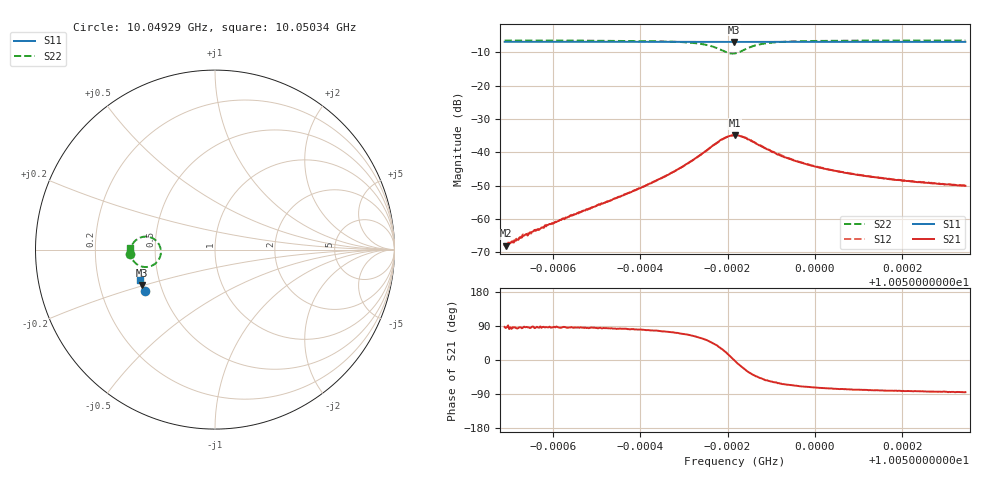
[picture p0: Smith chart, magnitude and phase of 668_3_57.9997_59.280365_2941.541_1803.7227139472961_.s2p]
#  HZ  S  RI  R  50.00
! Rohde & Schwarz Vector Network Analyzer
! Rohde-Schwarz,ZNB20-2Port,1311601062101988,3.16
! Created: UTC 3/21/2024, 1:20:15 AM
! freq[Hz]  re:S11  im:S11  re:S21  im:S21  re:S12  im:S12  re:S22  im:S22
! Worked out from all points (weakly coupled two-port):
!   401 points, 10.04929 GHz to 10.05034 GHz, reference 50 ohm
!   highest |S21| = -34.89 dB at 10.04982 GHz (marker M1); lowest = -68.0 dB at 10.04929 GHz (marker M2)
!   lowest |S11| = -6.9 dB at 10.04981 GHz (marker M3), VSWR 2.65, Z = 19.8 - j9.88 ohm
!   |S11| at or under -10 dB: nowhere
!   |S22| runs from -10.4 to -6.5 dB; largest |S21 - S12| = 0.0016
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1.0049289e10  -0.3916 -0.2302  1.98e-05 0.000402  7.79e-06 0.000416  -0.4739 -0.0268
1.0049292e10  -0.3917 -0.2301  3.84e-05 0.000395  -9.15e-06 0.00039  -0.474 -0.0265
1.0049326e10  -0.3928 -0.2282  3.47e-05 0.000532  -1.87e-05 0.000518  -0.4738 -0.0229
1.0049353e10  -0.3937 -0.2265  2.17e-05 0.000639  -6.74e-06 0.000648  -0.4737 -0.0204
1.0049466e10  -0.3972 -0.22  0.000103 0.00129  1.88e-05 0.00129  -0.4724 -0.00682
1.0049574e10  -0.4004 -0.2134  0.000367 0.00243  0.000209 0.00246  -0.4682 0.011
1.0049643e10  -0.4025 -0.209  0.000894 0.00385  0.000686 0.00385  -0.4609 0.028
1.0049704e10  -0.4041 -0.2053  0.00247 0.00603  0.00204 0.00612  -0.4429 0.0508
1.0049741e10  -0.4049 -0.2028  0.00508 0.0079  0.00454 0.00818  -0.4151 0.0674
1.0049767e10  -0.4052 -0.201  0.0091 0.00885  0.00837 0.00944  -0.3762 0.0719
1.0049791e10  -0.4053 -0.1998  0.0145 0.00692  0.0138 0.00784  -0.327 0.0486
1.0049804e10  -0.4052 -0.1992  0.0171 0.00364  0.0167 0.00485  -0.3059 0.0152
1.0049814e10  -0.4051 -0.1989  0.0179 0.000181  0.0178 0.00162  -0.3014 -0.0187
1.0049817e10  -0.4054 -0.1989  0.018 -0.000737  0.0179 0.000606  -0.3026 -0.0273
1.004983e10  -0.4058 -0.1986  0.0167 -0.0048  0.0171 -0.00346  -0.3195 -0.0649
1.0049846e10  -0.4065 -0.1981  0.0135 -0.00794  0.0143 -0.00692  -0.3531 -0.0905
1.0049883e10  -0.4081 -0.196  0.0074 -0.00917  0.00806 -0.00863  -0.4161 -0.0917
1.0049928e10  -0.4098 -0.1933  0.00383 -0.00772  0.00442 -0.0075  -0.4488 -0.07
1.0049994e10  -0.4117 -0.1892  0.00194 -0.00597  0.00231 -0.00588  -0.4649 -0.0458
1.0050065e10  -0.4136 -0.1848  0.00115 -0.00486  0.00142 -0.00481  -0.471 -0.029
1.0050171e10  -0.4161 -0.1783  0.000623 -0.00389  0.000875 -0.0039  -0.4741 -0.0122
1.0050345e10  -0.4203 -0.1676  0.000279 -0.00313  0.0005 -0.00311  -0.4754 0.00722
